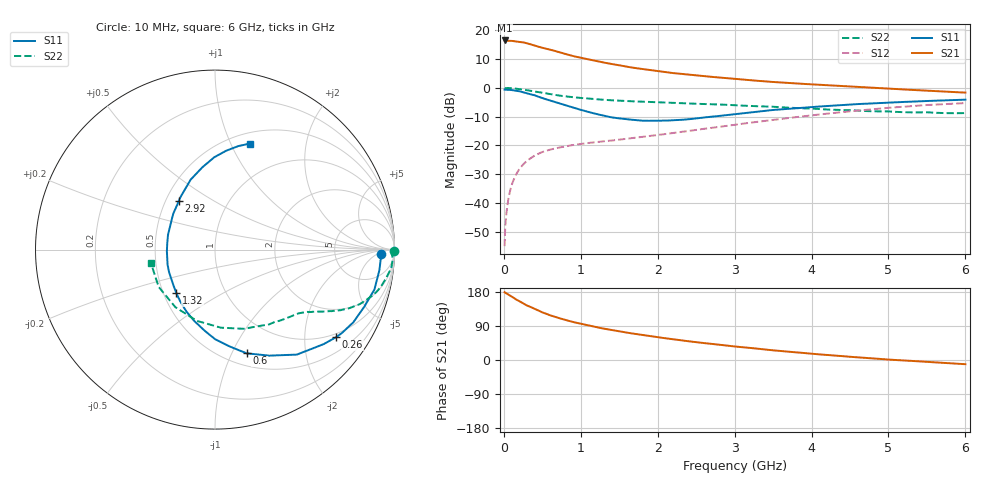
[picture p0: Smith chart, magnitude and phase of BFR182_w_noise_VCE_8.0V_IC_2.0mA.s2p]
! Infineon Technologies  Discrete & RF Semiconductors
! BFR182
! VCE =  8.0 V,  IC =  2.0 mA
! Common Emitter S-Parameters:  Nov 2015
# GHz  S  MA  R  50
!  f  S11  S21  S12  S22
! GHz  MAG  ANG  MAG  ANG  MAG  ANG  MAG  ANG
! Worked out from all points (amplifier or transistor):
!   210 points, 10 MHz to 6 GHz, reference 50 ohm
!   highest |S21| = 16.4 dB at 10 MHz (marker M1)
!   |S21| within 3 dB of that: start of sweep to 573.1 MHz
!   unconditionally stable (mu >= 1): 1.515 GHz to 3.18 GHz
!   at 185 MHz: K = 0.18, MSG = 22.4 dB, |S12| = -28.9 dB
!   at 1.52 GHz: K = 1.00, MAG = 12.6 dB, |S12| = -17.9 dB
!   at 6 GHz: K = 0.89, MSG = 1.8 dB, |S12| = -5.3 dB
!   lowest NFmin = 1.10 dB at 450 MHz
!   S11 on the Smith chart (normalised r, x): 10 MHz: 23, -9; 260 MHz: 0.89, -2.84; 600 MHz: 0.63, -1.14; 1.32 GHz: 0.58, -0.32; 2.92 GHz: 0.58, +0.36; 6 GHz: 0.61, +1.18
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0.01  0.9271 -1.6  6.608 178.8  0.0018 87.4  0.9964 -0.6
0.02  0.9253 -2.7  6.598 177.2  0.0042 88.6  0.9849 -1.3
0.03  0.924 -4.2  6.57 176.1  0.0061 86.8  0.9871 -1.9
0.075  0.9176 -10.6  6.511 170.8  0.0151 83.1  0.9892 -4.6
0.1  0.9155 -14.1  6.516 167.8  0.0203 82.1  0.9871 -6.1
0.15  0.8907 -20.9  6.393 160.8  0.0298 77.3  0.9685 -9.2
0.26  0.8333 -35.8  6.092 148.3  0.0483 69.7  0.928 -14.9
0.3  0.8031 -40.9  5.918 143.9  0.0542 67.5  0.9087 -16.7
0.4  0.7421 -52.0  5.405 135.1  0.0667 61.9  0.8638 -20.5
0.5  0.6643 -62.8  4.933 125.7  0.0771 58.2  0.8192 -23.4
0.6  0.6039 -73.1  4.595 118.1  0.0847 54.7  0.7763 -25.8
0.8  0.4994 -89.9  3.853 105.5  0.0968 50.6  0.71 -29.0
1.02  0.4076 -107.5  3.271 94.5  0.1069 49.0  0.6634 -31.4
1.2  0.3524 -122.5  2.914 86.5  0.1141 49.0  0.6335 -33.3
1.32  0.3242 -131.6  2.704 82.1  0.1191 49.4  0.6168 -34.3
1.6  0.2849 -154.1  2.314 72.1  0.1309 50.9  0.5887 -37.0
2.02  0.268 174.2  1.934 59.5  0.1531 53.5  0.5614 -41.9
2.92  0.339 126.3  1.457 37.6  0.2211 55.7  0.5048 -56.4
3.1  0.36 120.3  1.388 33.9  0.2382 55.2  0.4911 -60.2
4.1  0.4733 96.9  1.126 14.9  0.3441 48.7  0.4275 -89.2
5.1  0.5614 82.2  0.952 -0.0  0.4594 36.6  0.3823 -128.8
6  0.6221 71.8  0.825 -11.1  0.5436 22.5  0.3648 -168.3
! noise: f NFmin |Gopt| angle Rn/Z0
0.45  1.1  0.42  29  0.36
0.9  1.2  0.4  58  0.3
1.8  1.85  0.32  126  0.22
